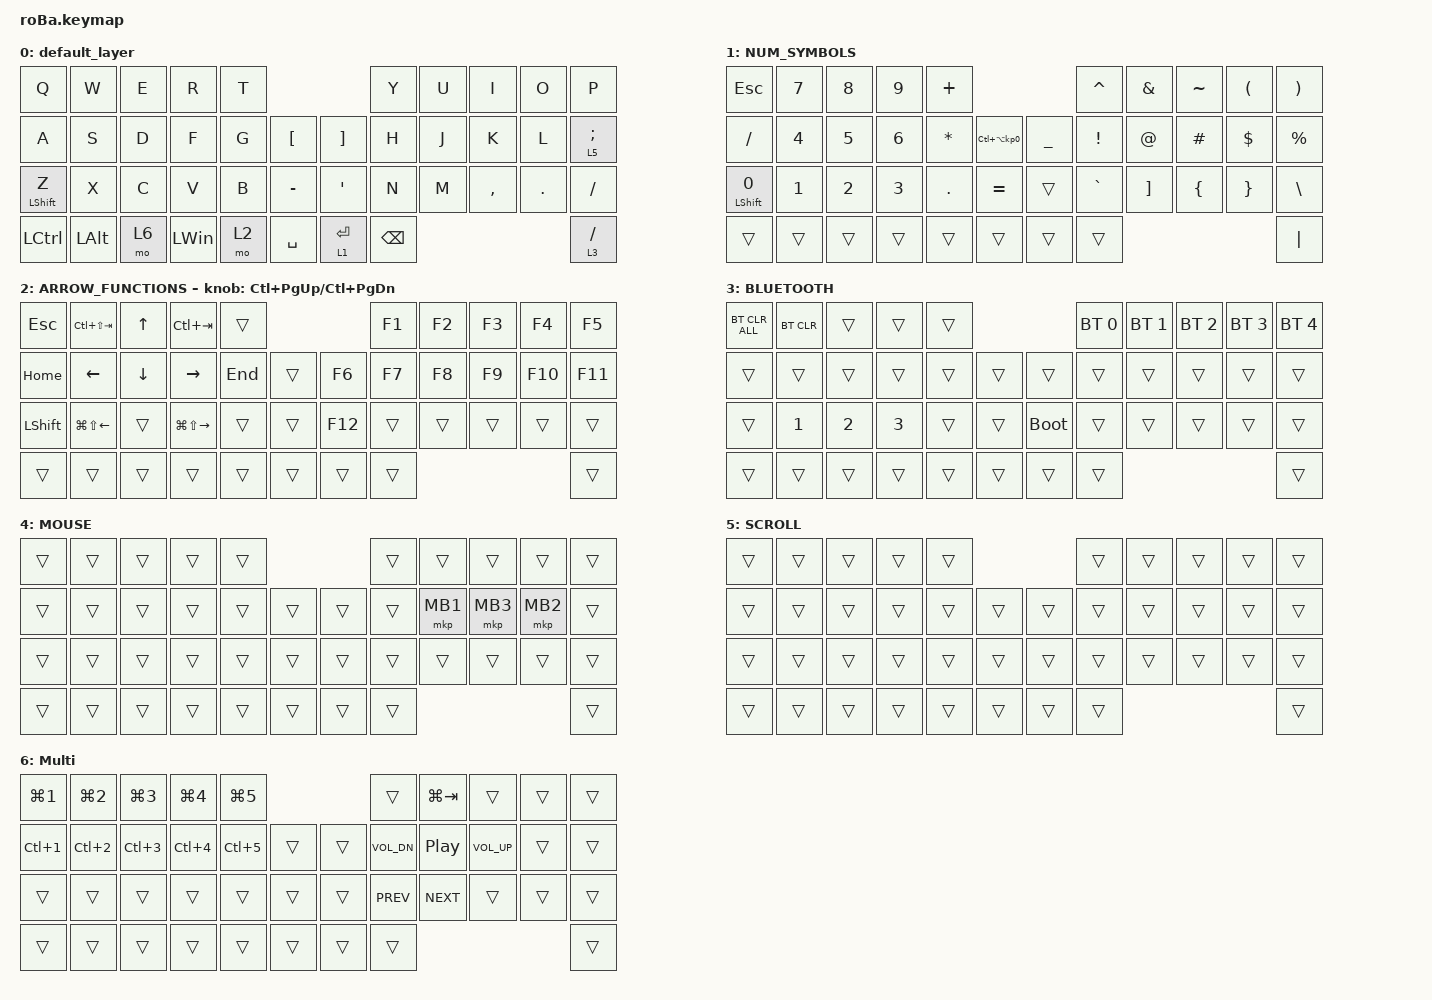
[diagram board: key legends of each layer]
#include <behaviors.dtsi>
#include <dt-bindings/zmk/bt.h>
#include <dt-bindings/zmk/keys.h>
#include <dt-bindings/zmk/pointing.h>

#define MOUSE 4
#define SCROLL 5
#define NUM 3

&mt {
    flavor = "balanced";
    quick-tap-ms = <0>;
};

/ {
    combos {
        compatible = "zmk,combos";

        tab {
            bindings = <&kp TAB>;
            key-positions = <11 12>;
        };

        shift_tab {
            bindings = <&kp LS(TAB)>;
            key-positions = <12 13>;
        };

        eq {
            bindings = <&kp EQUAL>;
            key-positions = <24 25>;
        };
    };

    macros {
        to_layer_0: to_layer_0 {
            compatible = "zmk,behavior-macro-one-param";
            #binding-cells = <1>;
            bindings = <&to 0 &macro_param_1to1 &kp MACRO_PLACEHOLDER>;
            label = "TO_LAYER_0";
        };
    };

    behaviors {
        lt_to_layer_0: lt_to_layer_0 {
            compatible = "zmk,behavior-hold-tap";
            label = "LAYER_TAP_TO_0";
            bindings = <&mo>, <&to_layer_0>;

            #binding-cells = <2>;
            tapping-term-ms = <200>;
            flavor = "tap-preferred";
            quick-tap-ms = <125>;
        };
    };

    keymap {
        compatible = "zmk,keymap";

        default_layer {
            bindings = <
&kp Q             &kp W         &kp E  &kp R         &kp T                                           &kp Y          &kp U  &kp I      &kp O    &kp P
&kp A             &kp S         &kp D  &kp F         &kp G  &kp LEFT_BRACKET      &kp RIGHT_BRACKET  &kp H          &kp J  &kp K      &kp L    &lt_to_layer_0 5 SEMICOLON
&mt LEFT_SHIFT Z  &kp X         &kp C  &kp V         &kp B  &kp MINUS             &kp SINGLE_QUOTE   &kp N          &kp M  &kp COMMA  &kp DOT  &kp SLASH
&kp LCTRL         &kp LEFT_ALT  &mo 6  &kp LEFT_WIN  &mo 2  &kp SPACE             &lt 1 ENTER        &kp BACKSPACE                             &lt_to_layer_0 3 SLASH
            >;
        };

        NUM_SYMBOLS {
            bindings = <
&kp ESCAPE               &kp NUMBER_7  &kp NUMBER_8  &kp NUMBER_9  &kp PLUS                                                   &kp CARET        &kp AMPERSAND      &kp TILDE       &kp LEFT_PARENTHESIS  &kp RIGHT_PARENTHESIS
&kp SLASH                &kp NUMBER_4  &kp NUMBER_5  &kp NUMBER_6  &kp ASTERISK  &kp LC(LA(KP_NUMBER_0))      &kp UNDERSCORE  &kp EXCLAMATION  &kp AT_SIGN        &kp HASH        &kp DOLLAR            &kp PERCENT
&mt LEFT_SHIFT NUMBER_0  &kp NUMBER_1  &kp NUMBER_2  &kp NUMBER_3  &kp PERIOD    &kp EQUAL                    &trans          &kp GRAVE        &kp RIGHT_BRACKET  &kp LEFT_BRACE  &kp RIGHT_BRACE       &kp BACKSLASH
&trans                   &trans        &trans        &trans        &trans        &trans                       &trans          &trans                                                                    &kp PIPE
            >;
        };

        ARROW_FUNCTIONS {
            bindings = <
&kp ESCAPE      &kp LC(LS(TAB))         &kp UP_ARROW    &kp LC(TAB)              &trans                        &kp F1  &kp F2  &kp F3  &kp F4   &kp F5
&kp HOME        &kp LEFT_ARROW          &kp DOWN_ARROW  &kp RIGHT_ARROW          &kp END  &trans      &kp F6   &kp F7  &kp F8  &kp F9  &kp F10  &kp F11
&kp LEFT_SHIFT  &kp LG(LS(LEFT_ARROW))  &trans          &kp LG(LS(RIGHT_ARROW))  &trans   &trans      &kp F12  &trans  &trans  &trans  &trans   &trans
&trans          &trans                  &trans          &trans                   &trans   &trans      &trans   &trans                           &trans
            >;

            sensor-bindings = <&inc_dec_kp LC(PAGE_UP) LC(PAGE_DOWN)>;
        };

        BLUETOOTH {
            bindings = <
&bt BT_CLR_ALL  &bt BT_CLR    &trans        &trans        &trans                           &bt BT_SEL 0  &bt BT_SEL 1  &bt BT_SEL 2  &bt BT_SEL 3  &bt BT_SEL 4
&trans          &trans        &trans        &trans        &trans  &trans      &trans       &trans        &trans        &trans        &trans        &trans
&trans          &kp NUMBER_1  &kp NUMBER_2  &kp NUMBER_3  &trans  &trans      &bootloader  &trans        &trans        &trans        &trans        &trans
&trans          &trans        &trans        &trans        &trans  &trans      &trans       &trans                                                  &trans
            >;
        };

        MOUSE {
            bindings = <
&trans  &trans  &trans  &trans  &trans                      &trans  &trans    &trans    &trans    &trans
&trans  &trans  &trans  &trans  &trans  &trans      &trans  &trans  &mkp MB1  &mkp MB3  &mkp MB2  &trans
&trans  &trans  &trans  &trans  &trans  &trans      &trans  &trans  &trans    &trans    &trans    &trans
&trans  &trans  &trans  &trans  &trans  &trans      &trans  &trans                                &trans
            >;
        };

        SCROLL {
            bindings = <
&trans  &trans  &trans  &trans  &trans                      &trans  &trans  &trans  &trans  &trans
&trans  &trans  &trans  &trans  &trans  &trans      &trans  &trans  &trans  &trans  &trans  &trans
&trans  &trans  &trans  &trans  &trans  &trans      &trans  &trans  &trans  &trans  &trans  &trans
&trans  &trans  &trans  &trans  &trans  &trans      &trans  &trans                          &trans
            >;
        };

        Multi {
            bindings = <
&kp LG(NUMBER_1)  &kp LG(NUMBER_2)  &kp LG(NUMBER_3)  &kp LG(NUMBER_4)  &kp LG(NUMBER_5)                      &trans        &kp LG(TAB)  &trans           &trans  &trans
&kp LC(NUMBER_1)  &kp LC(NUMBER_2)  &kp LC(NUMBER_3)  &kp LC(NUMBER_4)  &kp LC(NUMBER_5)  &trans      &trans  &kp C_VOL_DN  &kp C_PP     &kp C_VOLUME_UP  &trans  &trans
&trans            &trans            &trans            &trans            &trans            &trans      &trans  &kp C_PREV    &kp C_NEXT   &trans           &trans  &trans
&trans            &trans            &trans            &trans            &trans            &trans      &trans  &trans                                              &trans
            >;
        };
    };
};
